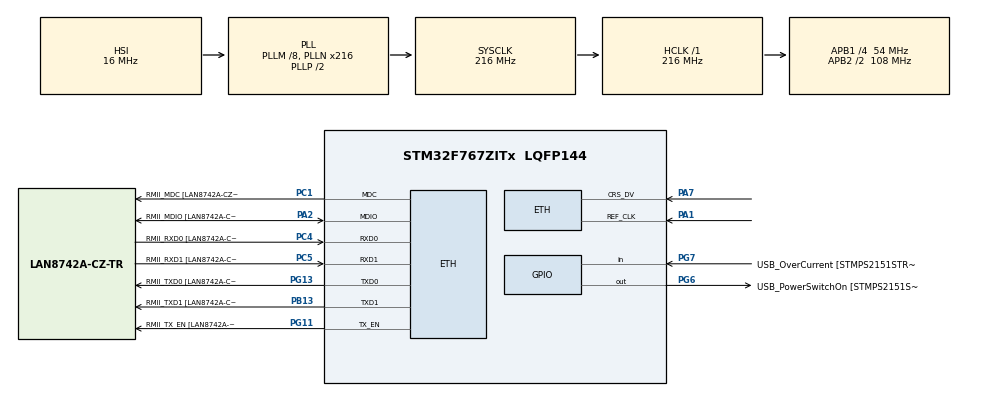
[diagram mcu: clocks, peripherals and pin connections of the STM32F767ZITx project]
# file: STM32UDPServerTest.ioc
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CORTEX_M7.CPU_DCache=Disabled
CORTEX_M7.CPU_ICache=Disabled
CORTEX_M7.Enable-Cortex_Memory_Protection_Unit_Region0_Settings=__NULL
CORTEX_M7.Enable-Cortex_Memory_Protection_Unit_Region1_Settings=__NULL
CORTEX_M7.MPU_Control=__NULL
CORTEX_M7.PREFETCH_ENABLE=0
ETH.MediaInterface=HAL_ETH_RMII_MODE
LWIP.BSP.number=1
LWIP.Version=v2.1.2_Cube
LWIP0.BSP.STBoard=false
LWIP0.BSP.api=BSP_COMPONENT_DRIVER
LWIP0.BSP.component=LAN8742
LWIP0.BSP.instance=LAN8742
LWIP0.BSP.name=Driver_PHY
LWIP0.BSP.semaphore=S_LAN8742
LWIP0.BSP.solution=LAN8742
Mcu.Family=STM32F7
Mcu.Name=STM32F767ZITx
Mcu.Package=LQFP144
NVIC.PriorityGroup=NVIC_PRIORITYGROUP_4
PA1.Mode=RMII
PA1.Signal=ETH_REF_CLK
PA10.GPIO_Label=USB_ID
PA10.Signal=USB_OTG_FS_ID
PA11.GPIO_Label=USB_DM
PA11.Signal=USB_OTG_FS_DM
PA12.GPIO_Label=USB_DP
PA12.Signal=USB_OTG_FS_DP
PA13.GPIO_Label=TMS
PA13.Signal=SYS_JTMS-SWDIO
PA14.GPIO_Label=TCK
PA14.Signal=SYS_JTCK-SWCLK
PA2.GPIO_Label=RMII_MDIO [LAN8742A-CZ-TR_MDIO]
PA2.Mode=RMII
PA2.Signal=ETH_MDIO
PA7.Mode=RMII
PA7.Signal=ETH_CRS_DV
PA8.GPIO_Label=USB_SOF [TP1]
PA8.Signal=USB_OTG_FS_SOF
PA9.GPIO_Label=USB_VBUS
PA9.Signal=USB_OTG_FS_VBUS
PB13.GPIO_Label=RMII_TXD1 [LAN8742A-CZ-TR_TXD1]
PB13.Mode=RMII
PB13.Signal=ETH_TXD1
PB3.GPIO_Label=SW0
PB3.Signal=SYS_JTDO-SWO
PC1.GPIO_Label=RMII_MDC [LAN8742A-CZ-TR_MDC]
PC1.Mode=RMII
PC1.Signal=ETH_MDC
PC14/OSC32_IN.Signal=RCC_OSC32_IN
PC15/OSC32_OUT.Signal=RCC_OSC32_OUT
PC4.GPIO_Label=RMII_RXD0 [LAN8742A-CZ-TR_RXD0]
PC4.Mode=RMII
PC4.Signal=ETH_RXD0
PC5.GPIO_Label=RMII_RXD1 [LAN8742A-CZ-TR_RXD1]
PC5.Mode=RMII
PC5.Signal=ETH_RXD1
PD8.GPIO_Label=STLK_RX [STM32F103CBT6_PA3]
PD8.Signal=USART3_TX
PD9.GPIO_Label=STLK_TX [STM32F103CBT6_PA2]
PD9.Signal=USART3_RX
PG11.GPIO_Label=RMII_TX_EN [LAN8742A-CZ-TR_TXEN]
PG11.Mode=RMII
PG11.Signal=ETH_TX_EN
PG13.GPIO_Label=RMII_TXD0 [LAN8742A-CZ-TR_TXD0]
PG13.Mode=RMII
PG13.Signal=ETH_TXD0
PG6.GPIO_Label=USB_PowerSwitchOn [STMPS2151STR_EN]
PG6.Signal=GPIO_Output
PG7.GPIO_Label=USB_OverCurrent [STMPS2151STR_FAULT]
PG7.Signal=GPIO_Input
PH0/OSC_IN.GPIO_Label=MCO [STM32F103CBT6_PA8]
PH0/OSC_IN.Signal=RCC_OSC_IN
PH1/OSC_OUT.Signal=RCC_OSC_OUT
ProjectManager.HeapSize=0x200
ProjectManager.StackSize=0x400
ProjectManager.TargetToolchain=CMake
RCC.48MHZClocksFreq_Value=24000000
RCC.AHBFreq_Value=216000000
RCC.APB1CLKDivider=RCC_HCLK_DIV4
RCC.APB1Freq_Value=54000000
RCC.APB1TimFreq_Value=108000000
RCC.APB2CLKDivider=RCC_HCLK_DIV2
RCC.APB2Freq_Value=108000000
RCC.APB2TimFreq_Value=216000000
RCC.CortexFreq_Value=216000000
RCC.HCLKFreq_Value=216000000
RCC.HSE_VALUE=16000000
RCC.HSI_VALUE=16000000
RCC.LSE_VALUE=32768
RCC.PLLM=8
RCC.PLLMUL=RCC_PLL_MUL9
RCC.PLLN=216
RCC.PRESCALERUSB=RCC_USBCLKSOURCE_PLL_DIV1_5
RCC.SYSCLKFreq_VALUE=216000000
RCC.SYSCLKSource=RCC_SYSCLKSOURCE_PLLCLK
RCC.SYSCLKSourceVirtual=RCC_SYSCLKSOURCE_PLLCLK
RCC.USBFreq_Value=216000000
RCC.VCOOutputFreq_Value=432000000
VP_LWIP_VS_Enabled.Mode=Enabled
board=NUCLEO-F767ZI

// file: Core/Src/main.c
/* USER CODE BEGIN Header */
/**
  ******************************************************************************
  * @file           : main.c
  * @brief          : Main program body
  ******************************************************************************
  * @attention
  *
  * Copyright (c) 2024 STMicroelectronics.
  * All rights reserved.
  *
  * This software is licensed under terms that can be found in the LICENSE file
  * in the root directory of this software component.
  * If no LICENSE file comes with this software, it is provided AS-IS.
  *
  ******************************************************************************
  */
/* USER CODE END Header */
#include "main.h"
#include "lwip.h"

/* USER CODE BEGIN Includes */
#include <string.h>
/* USER CODE END Includes */

/* USER CODE BEGIN PV */
struct udp_pcb *upcb;
const char *helloWorld = "Hello, world!";
/* USER CODE END PV */

void SystemClock_Config(void);

static void MX_GPIO_Init(void);

/* USER CODE BEGIN PFP */
void udp_hello_world(void *arg, struct udp_pcb *pcb, struct pbuf *p, const ip_addr_t *addr, u16_t port);

/* USER CODE END PFP */

/* USER CODE BEGIN 0 */
extern struct netif gnetif;
/* USER CODE END 0 */

int main(void) {

    /* MCU Configuration--------------------------------------------------------*/

    /* Reset of all peripherals, Initializes the Flash interface and the Systick. */
    HAL_Init();

    /* Configure the system clock */
    SystemClock_Config();

    /* Initialize all configured peripherals */
    MX_GPIO_Init();
    MX_LWIP_Init();
    /* USER CODE BEGIN 2 */
    upcb = udp_new();

    // udp_bind(upcb, netif_ip4_addr(&gnetif), 31337);
    udp_bind(upcb, IP_ADDR_ANY, 31337);
    udp_recv(upcb, udp_hello_world, NULL);
    /* USER CODE END 2 */

    /* Infinite loop */
    while (1) {

        /* USER CODE BEGIN 3 */
        MX_LWIP_Process();
    }
    /* USER CODE END 3 */
}

void SystemClock_Config(void) {
    RCC_OscInitTypeDef RCC_OscInitStruct = {0};
    RCC_ClkInitTypeDef RCC_ClkInitStruct = {0};

    /** Configure the main internal regulator output voltage
    */
    __HAL_RCC_PWR_CLK_ENABLE();
    __HAL_PWR_VOLTAGESCALING_CONFIG(PWR_REGULATOR_VOLTAGE_SCALE1);

    /** Initializes the RCC Oscillators according to the specified parameters
    * in the RCC_OscInitTypeDef structure.
    */
    RCC_OscInitStruct.OscillatorType = RCC_OSCILLATORTYPE_HSI;
    RCC_OscInitStruct.HSIState = RCC_HSI_ON;
    RCC_OscInitStruct.HSICalibrationValue = RCC_HSICALIBRATION_DEFAULT;
    RCC_OscInitStruct.PLL.PLLState = RCC_PLL_ON;
    RCC_OscInitStruct.PLL.PLLSource = RCC_PLLSOURCE_HSI;
    RCC_OscInitStruct.PLL.PLLM = 8;
    RCC_OscInitStruct.PLL.PLLN = 216;
    RCC_OscInitStruct.PLL.PLLP = RCC_PLLP_DIV2;
    RCC_OscInitStruct.PLL.PLLQ = 2;
    RCC_OscInitStruct.PLL.PLLR = 2;
    if (HAL_RCC_OscConfig(&RCC_OscInitStruct) != HAL_OK) {
        Error_Handler();
    }

    /** Activate the Over-Drive mode
    */
    if (HAL_PWREx_EnableOverDrive() != HAL_OK) {
        Error_Handler();
    }

    /** Initializes the CPU, AHB and APB buses clocks
    */
    RCC_ClkInitStruct.ClockType = RCC_CLOCKTYPE_HCLK | RCC_CLOCKTYPE_SYSCLK
                                  | RCC_CLOCKTYPE_PCLK1 | RCC_CLOCKTYPE_PCLK2;
    RCC_ClkInitStruct.SYSCLKSource = RCC_SYSCLKSOURCE_PLLCLK;
    RCC_ClkInitStruct.AHBCLKDivider = RCC_SYSCLK_DIV1;
    RCC_ClkInitStruct.APB1CLKDivider = RCC_HCLK_DIV4;
    RCC_ClkInitStruct.APB2CLKDivider = RCC_HCLK_DIV2;

    if (HAL_RCC_ClockConfig(&RCC_ClkInitStruct, FLASH_LATENCY_7) != HAL_OK) {
        Error_Handler();
    }
}

static void MX_GPIO_Init(void) {
    GPIO_InitTypeDef GPIO_InitStruct = {0};

    /* GPIO Ports Clock Enable */
    __HAL_RCC_GPIOC_CLK_ENABLE();
    __HAL_RCC_GPIOH_CLK_ENABLE();
    __HAL_RCC_GPIOA_CLK_ENABLE();
    __HAL_RCC_GPIOB_CLK_ENABLE();
    __HAL_RCC_GPIOD_CLK_ENABLE();
    __HAL_RCC_GPIOG_CLK_ENABLE();

    /*Configure GPIO pin Output Level */
    HAL_GPIO_WritePin(USB_PowerSwitchOn_GPIO_Port, USB_PowerSwitchOn_Pin, GPIO_PIN_RESET);

    /*Configure GPIO pins : STLK_RX_Pin STLK_TX_Pin */
    GPIO_InitStruct.Pin = STLK_RX_Pin | STLK_TX_Pin;
    GPIO_InitStruct.Mode = GPIO_MODE_AF_PP;
    GPIO_InitStruct.Pull = GPIO_NOPULL;
    GPIO_InitStruct.Speed = GPIO_SPEED_FREQ_VERY_HIGH;
    GPIO_InitStruct.Alternate = GPIO_AF7_USART3;
    HAL_GPIO_Init(GPIOD, &GPIO_InitStruct);

    /*Configure GPIO pin : USB_PowerSwitchOn_Pin */
    GPIO_InitStruct.Pin = USB_PowerSwitchOn_Pin;
    GPIO_InitStruct.Mode = GPIO_MODE_OUTPUT_PP;
    GPIO_InitStruct.Pull = GPIO_NOPULL;
    GPIO_InitStruct.Speed = GPIO_SPEED_FREQ_LOW;
    HAL_GPIO_Init(USB_PowerSwitchOn_GPIO_Port, &GPIO_InitStruct);

    /*Configure GPIO pin : USB_OverCurrent_Pin */
    GPIO_InitStruct.Pin = USB_OverCurrent_Pin;
    GPIO_InitStruct.Mode = GPIO_MODE_INPUT;
    GPIO_InitStruct.Pull = GPIO_NOPULL;
    HAL_GPIO_Init(USB_OverCurrent_GPIO_Port, &GPIO_InitStruct);

    /*Configure GPIO pins : USB_SOF_Pin USB_ID_Pin USB_DM_Pin USB_DP_Pin */
    GPIO_InitStruct.Pin = USB_SOF_Pin | USB_ID_Pin | USB_DM_Pin | USB_DP_Pin;
    GPIO_InitStruct.Mode = GPIO_MODE_AF_PP;
    GPIO_InitStruct.Pull = GPIO_NOPULL;
    GPIO_InitStruct.Speed = GPIO_SPEED_FREQ_VERY_HIGH;
    GPIO_InitStruct.Alternate = GPIO_AF10_OTG_FS;
    HAL_GPIO_Init(GPIOA, &GPIO_InitStruct);

    /*Configure GPIO pin : USB_VBUS_Pin */
    GPIO_InitStruct.Pin = USB_VBUS_Pin;
    GPIO_InitStruct.Mode = GPIO_MODE_INPUT;
    GPIO_InitStruct.Pull = GPIO_NOPULL;
    HAL_GPIO_Init(USB_VBUS_GPIO_Port, &GPIO_InitStruct);

}

/* USER CODE BEGIN 4 */
void udp_hello_world(void *arg, struct udp_pcb *pcb, struct pbuf *p, const ip_addr_t *addr, u16_t port) {
    struct pbuf *pHelloWorld = pbuf_alloc(PBUF_TRANSPORT, strlen(helloWorld), PBUF_POOL);
    if (pHelloWorld == NULL)
        Error_Handler();

    pbuf_take(pHelloWorld, helloWorld, strlen(helloWorld));

    udp_connect(pcb, addr, port);
    // udp_send(pcb, p);
    udp_send(pcb, pHelloWorld);
    udp_disconnect(pcb);

    pbuf_free(pHelloWorld);
    pbuf_free(p);
}

/* USER CODE END 4 */

void Error_Handler(void) {
    __disable_irq();
    while (1) {
    }
}
